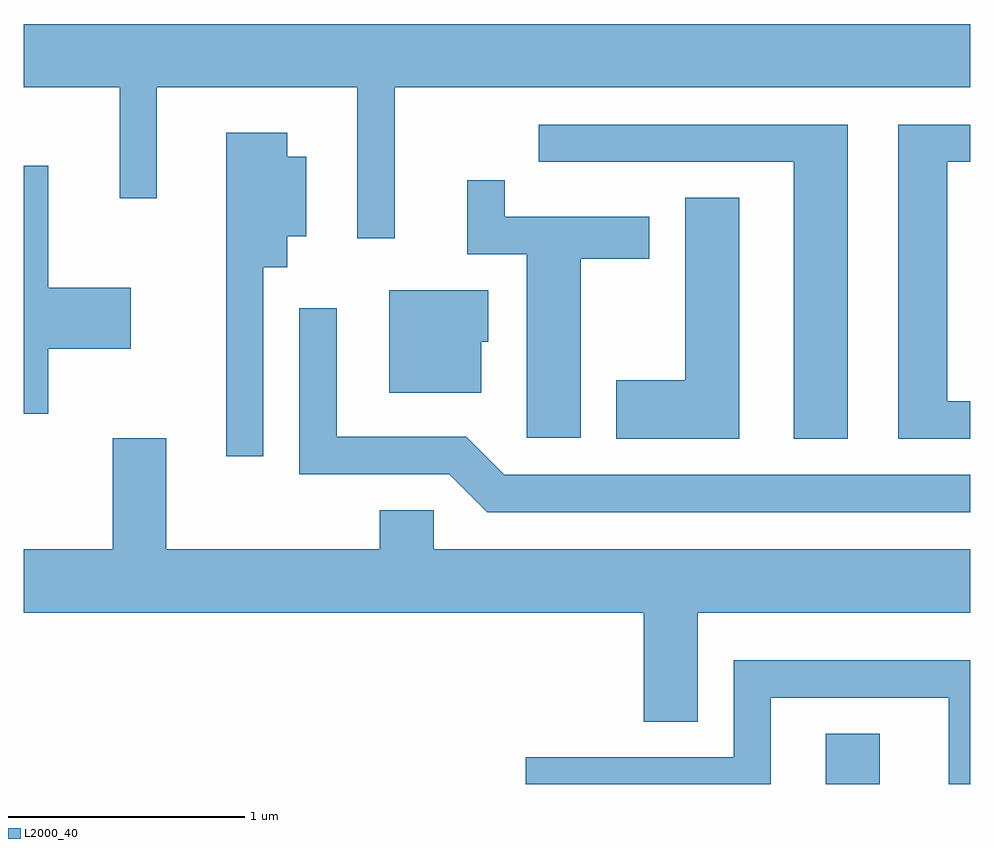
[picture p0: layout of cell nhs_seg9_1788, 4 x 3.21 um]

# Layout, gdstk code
import gdstk
lib = gdstk.Library(unit=1e-6, precision=1e-09)
def R(c, l, rs):  # rectangles x0, y0, x1, y1
    for r in rs: c.add(gdstk.rectangle(r[:2], r[2:], *l))
def P(c, l, *ps):  # polygons
    for p in ps: c.add(gdstk.Polygon(p, *l))
L2000_40 = (2000, 40)

nhs_seg9_1788 = lib.new_cell('nhs_seg9_1788')
R(nhs_seg9_1788, L2000_40, [(241.001,1984.432,241.229,1984.644)])
P(nhs_seg9_1788, L2000_40, [(239.179,1987.376),(241.611,1987.376),(241.611,1987.644),(237.611,1987.644),(237.611,1987.376),(238.016,1987.376),(238.016,1986.908),(238.174,1986.908),(238.174,1987.376),(239.021,1987.376),(239.021,1986.738),(239.179,1986.738)],
  [(241.611,1986.049),(241.514,1986.049),(241.514,1987.061),(241.611,1987.061),(241.611,1987.219),(241.306,1987.219),(241.306,1985.891),(241.611,1985.891)],
  [(241.094,1987.219),(239.788,1987.219),(239.788,1987.061),(240.866,1987.061),(240.866,1985.891),(241.094,1985.891)],
  [(238.624,1986.616),(238.724,1986.616),(238.724,1986.746),(238.804,1986.746),(238.804,1987.084),(238.724,1987.084),(238.724,1987.184),(238.466,1987.184),(238.466,1985.818),(238.624,1985.818)],
  [(237.714,1986.271),(238.064,1986.271),(238.064,1986.529),(237.714,1986.529),(237.714,1987.044),(237.611,1987.044),(237.611,1985.996),(237.714,1985.996)],
  [(239.964,1986.651),(240.254,1986.651),(240.254,1986.829),(239.644,1986.829),(239.644,1986.983),(239.486,1986.983),(239.486,1986.671),(239.736,1986.671),(239.736,1985.896),(239.964,1985.896)],
  [(240.634,1986.909),(240.406,1986.909),(240.406,1986.139),(240.116,1986.139),(240.116,1985.891),(240.634,1985.891)],
  [(239.544,1986.301),(239.574,1986.301),(239.574,1986.519),(239.156,1986.519),(239.156,1986.086),(239.544,1986.086)],
  [(241.611,1985.739),(239.642,1985.739),(239.482,1985.899),(238.934,1985.899),(238.934,1986.443),(238.776,1986.443),(238.776,1985.741),(239.409,1985.741),(239.569,1985.581),(241.611,1985.581)],
  [(240.459,1985.156),(241.611,1985.156),(241.611,1985.424),(239.344,1985.424),(239.344,1985.589),(239.116,1985.589),(239.116,1985.424),(238.214,1985.424),(238.214,1985.894),(237.986,1985.894),(237.986,1985.424),(237.611,1985.424),(237.611,1985.156),(240.231,1985.156),(240.231,1984.696),(240.459,1984.696)],
  [(240.769,1984.796),(241.521,1984.796),(241.521,1984.432),(241.611,1984.432),(241.611,1984.954),(240.611,1984.954),(240.611,1984.544),(239.733,1984.544),(239.733,1984.432),(240.769,1984.432)])

lib.write_gds('nhs_seg9_1788.gds')
